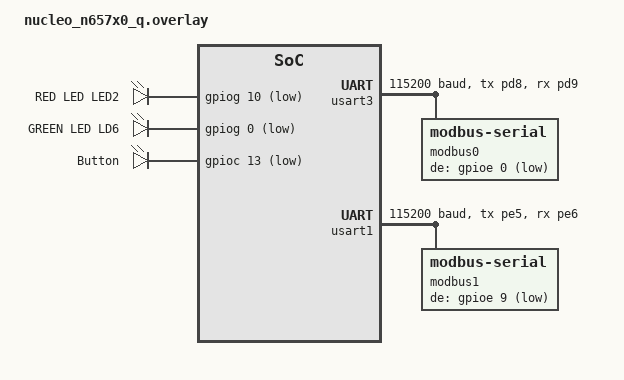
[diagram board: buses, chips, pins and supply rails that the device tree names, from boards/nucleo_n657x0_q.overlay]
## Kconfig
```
# Copyright (c) 2025
# SPDX-License-Identifier: Apache-2.0
# Coskun ERGAN <coskunergan@gmail.com>

mainmenu "ISO-TP Canbus Demo"

config SAMPLE_LOOPBACK_MODE
	bool "Use CAN loopback mode"
	help
	  Set the CAN controller to loopback mode. This allows testing without a second board.

config SAMPLE_RX_THREAD_STACK_SIZE
	int "RX threads stack size"
	default 1024
	help
	  Stack size (in bytes) used for the RX threads.

config SAMPLE_RX_THREAD_PRIORITY
	int "RX threads priority"
	default 2
	help
	  Priority used for the RX threads.

config SAMPLE_CAN_FD_MODE
	bool "Use CAN FD"
	select CAN_FD_MODE

config ISOTP_RX_BUF_COUNT
	default 4 if SAMPLE_CAN_FD_MODE
	default 2

source "Kconfig.zephyr"
```

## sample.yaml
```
# See doc/develop/test/twister.rst for what is here.
sample:
  name: Driver Sample
common:
  filter: CONFIG_RUST_SUPPORTED
  platform_allow:
    - qemu_cortex_m0
    - qemu_cortex_m3
    - qemu_riscv32
    - qemu_riscv64    
    - stm32f4_disco
    - nucleo_n657x0_q
tests:
  sample.basic.drivers:
    tags:
    filter: 
    depends_on:
    extra_configs:
      - CONFIG_SAMPLE_LOOPBACK_MODE=y
      - CONFIG_SAMPLE_CAN_FD_MODE=y    
    harness:
    integration_platforms:
      - stm32f4_disco
      - nucleo_n657x0_q
```

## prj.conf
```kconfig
CONFIG_GPIO=y

CONFIG_RUST=y
CONFIG_RUST_ALLOC=y

CONFIG_DEBUG=y
CONFIG_MAIN_STACK_SIZE=4096
CONFIG_HEAP_MEM_POOL_SIZE=2048

CONFIG_SYS_CLOCK_TICKS_PER_SEC=10000

CONFIG_GPIO_ENABLE_DISABLE_INTERRUPT=y

#Verify that userspace builds work.
#CONFIG_USERSPACE=y

CONFIG_UART_INTERRUPT_DRIVEN=y
CONFIG_UART_LINE_CTRL=n

#CONFIG_CONSOLE=n

CONFIG_MODBUS=y
CONFIG_MODBUS_ROLE_CLIENT_SERVER=y

CONFIG_LOG=y
#CONFIG_LOG_DEFAULT_LEVEL=4

CONFIG_CAN=y
CONFIG_CAN_MAX_FILTER=8
CONFIG_ISOTP=y
CONFIG_ISOTP_RX_SF_FF_BUF_COUNT=1

#CONFIG_SAMPLE_LOOPBACK_MODE=y
CONFIG_SAMPLE_CAN_FD_MODE=y
```

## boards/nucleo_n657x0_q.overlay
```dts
/ {
	gpios {		
		compatible = "gpio-leds";	
		my_red_led: my_red_led {			
			gpios = <&gpiog 10 GPIO_ACTIVE_LOW>;	
			label = "RED LED LED2";
		};
		my_green_led: my_green_led {			
			gpios = <&gpiog 0 GPIO_ACTIVE_LOW>;	
			label = "GREEN LED LD6";
		};		
		button: button {
			gpios = <&gpioc 13 (GPIO_PULL_DOWN | GPIO_ACTIVE_LOW)>;
			label = "Button";
		};											
	};				
};

&usart3 {
	clocks = <&rcc STM32_CLOCK(APB1, 18)>,
		 <&rcc STM32_SRC_CKPER USART3_SEL(1)>;
	pinctrl-0 = <&usart3_tx_pd8 &usart3_rx_pd9>;
	pinctrl-names = "default";
	current-speed = <115200>;
	status = "okay";
	modbus0 {
		compatible = "zephyr,modbus-serial";
		status = "okay";
		de-gpios = <&gpioe 0 GPIO_ACTIVE_LOW>;	
	};		
};

&usart1 {
	clocks = <&rcc STM32_CLOCK(APB2, 4)>,
		 <&rcc STM32_SRC_CKPER USART1_SEL(1)>;
	pinctrl-0 = <&usart1_tx_pe5 &usart1_rx_pe6>;
	pinctrl-names = "default";
	current-speed = <115200>;
	status = "okay";
	modbus1 {
		compatible = "zephyr,modbus-serial";
		status = "okay";
		de-gpios = <&gpioe 9 GPIO_ACTIVE_LOW>;	
	};		
};

&fdcan1 {
    label = "canbus0"; 
};
```

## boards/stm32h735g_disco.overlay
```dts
/ {
	gpios {		
		compatible = "gpio-leds";	
		my_red_led: my_red_led {			
			gpios = <&gpioc 2 GPIO_ACTIVE_LOW>;	
			label = "RED LED LED2";
		};
		my_green_led: my_green_led {			
			gpios = <&gpioc 3 GPIO_ACTIVE_LOW>;	
			label = "GREEN LED LED1";
		};		
		button: button {
			gpios = <&gpioc 13 (GPIO_PULL_DOWN | GPIO_ACTIVE_LOW)>;
			label = "Button";
		};											
	};				
};

&usart1 {
	pinctrl-0 = <&usart1_tx_pb14 &usart1_rx_pb15>;
	pinctrl-names = "default";
	current-speed = <115200>;
	status = "okay";
	modbus0 {
		compatible = "zephyr,modbus-serial";
		status = "okay";
		de-gpios = <&gpioe 9 GPIO_ACTIVE_LOW>;	
	};		
};

&usart3 {
	pinctrl-0 = <&usart3_tx_pd8 &usart3_rx_pd9>;
	pinctrl-names = "default";
	current-speed = <115200>;
	status = "okay";
	modbus1 {
		compatible = "zephyr,modbus-serial";
		status = "okay";
		de-gpios = <&gpioe 0 GPIO_ACTIVE_LOW>;	
	};		
};

&fdcan1 {
    label = "canbus0"; 
};
```

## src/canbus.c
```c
// Copyright (c) 2025
// SPDX-License-Identifier: Apache-2.0
// Coskun ERGAN <coskunergan@gmail.com>

#include <zephyr/kernel.h>
#include <zephyr/canbus/isotp.h>
#include <zephyr/sys/util.h>
#include <zephyr/logging/log.h>

LOG_MODULE_REGISTER(canbus, LOG_LEVEL_DBG);

const struct isotp_fc_opts fc_opts_8_0 = {.bs = 8, .stmin = 0};

const struct isotp_msg_id rx_addr_8_0 =
{
    .std_id = 0x80,
#ifdef CONFIG_SAMPLE_CAN_FD_MODE
    .flags = ISOTP_MSG_FDF | ISOTP_MSG_BRS,
#endif
};
const struct isotp_msg_id tx_addr_8_0 =
{
    .std_id = 0x180,
#ifdef CONFIG_SAMPLE_CAN_FD_MODE
    .dl = 64,
    .flags = ISOTP_MSG_FDF | ISOTP_MSG_BRS,
#endif
};

const struct device *can_dev;
struct isotp_recv_ctx recv_ctx_8_0;
struct isotp_send_ctx send_ctx_8_0;

K_THREAD_STACK_DEFINE(rx_8_0_thread_stack, CONFIG_SAMPLE_RX_THREAD_STACK_SIZE);
struct k_thread rx_8_0_thread_data;

extern void canbus_data_handler(const uint8_t *data, uint32_t len);

void rx_8_0_thread(void *arg1, void *arg2, void *arg3)
{
    ARG_UNUSED(arg1);
    ARG_UNUSED(arg2);
    ARG_UNUSED(arg3);
    int ret, rem_len;
    struct net_buf *buf;

    ret = isotp_bind(&recv_ctx_8_0, can_dev,
                     &tx_addr_8_0, &rx_addr_8_0,
                     &fc_opts_8_0, K_FOREVER);
    if(ret != ISOTP_N_OK)
    {
        LOG_ERR("Failed to bind to rx ID %d [%d]\n",
                rx_addr_8_0.std_id, ret);
        return;
    }

    while(1)
    {
        do
        {
            rem_len = isotp_recv_net(&recv_ctx_8_0, &buf,
                                     K_MSEC(2000));
            if(rem_len < 0)
            {
                break;
            }
            while(buf != NULL)
            {
                canbus_data_handler(buf->data, buf->len);
                buf = net_buf_frag_del(NULL, buf);
            }
        }
        while(rem_len);
    }
}

void send_complette_cb(int error_nr, void *arg)
{
    ARG_UNUSED(arg);
    if(error_nr < 0)
    {
        LOG_ERR("TX complete cb [%d]\n", error_nr);
    }
}

int canbus_init(const char *dev_name)
{
    k_tid_t tid;

    int ret = 0;

    can_dev = device_get_binding(dev_name);

    if(!device_is_ready(can_dev))
    {
        LOG_ERR("CAN: Device driver not ready.\n");
        return -1;
    }

    struct can_timing timing;

    ret = can_calc_timing(can_dev, &timing, 500000, 875);
    if(ret < 0)
    {
        LOG_ERR("Failed to calc timing: %d\n", ret);
        return ret;
    }

    ret = can_set_timing(can_dev, &timing);
    if(ret < 0)
    {
        LOG_ERR("Failed to set timing: %d\n", ret);
        return ret;
    }

    can_mode_t mode = (IS_ENABLED(CONFIG_SAMPLE_LOOPBACK_MODE) ? CAN_MODE_LOOPBACK : 0) |
                      (IS_ENABLED(CONFIG_SAMPLE_CAN_FD_MODE) ? CAN_MODE_FD : 0);
    ret = can_set_mode(can_dev, mode);
    if(ret != 0)
    {
        LOG_ERR("CAN: Failed to set mode [%d]", ret);
        return ret;
    }

    ret = can_start(can_dev);
    if(ret != 0)
    {
        LOG_ERR("CAN: Failed to start device [%d]\n", ret);
        return ret;
    }

    tid = k_thread_create(&rx_8_0_thread_data, rx_8_0_thread_stack,
                          K_THREAD_STACK_SIZEOF(rx_8_0_thread_stack),
                          rx_8_0_thread, NULL, NULL, NULL,
                          CONFIG_SAMPLE_RX_THREAD_PRIORITY, 0, K_NO_WAIT);
    if(!tid)
    {
        LOG_ERR("ERROR spawning rx thread\n");
        return 0;
    }
    k_thread_name_set(tid, "rx_8_0");

    return ret;
}

int canbus_isotp_send(const uint8_t *data, const uint16_t len)
{
    int ret = isotp_send(&send_ctx_8_0, can_dev,
                         data, len,
                         &tx_addr_8_0, &rx_addr_8_0, send_complette_cb, NULL);
    if(ret != ISOTP_N_OK)
    {
        LOG_WRN("Error while sending data to ID %d [%d]\n",
                tx_addr_8_0.std_id, ret);
    }
    return ret;
}
```

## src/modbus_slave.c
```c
// Copyright (c) 2025
// SPDX-License-Identifier: Apache-2.0
// Coskun ERGAN <coskunergan@gmail.com>

#include <zephyr/kernel.h>
#include <zephyr/devicetree.h>
#include <zephyr/modbus/modbus.h>
#include <zephyr/sys/util.h>
#include <zephyr/logging/log.h>

LOG_MODULE_REGISTER(modbus_slave, LOG_LEVEL_DBG);

const uint16_t drv_slave_id = 1;

#define NUMBER_OF_MB_ITEM 64

struct
{
    uint16_t *regs[NUMBER_OF_MB_ITEM];
} modbus_regs_ptr;

static int holding_reg_rd(uint16_t addr, uint16_t *reg)
{
    if(addr >= NUMBER_OF_MB_ITEM)
    {
        return -ENOTSUP;
    }
    else
    {
        if(modbus_regs_ptr.regs[addr] != NULL)
        {
            *reg = *modbus_regs_ptr.regs[addr];
        }
        else
        {
            *reg = 0;
            return -ENOTSUP;
        }
    }
    return 0;
}

static int holding_reg_wr(uint16_t addr, uint16_t reg)
{
    if(addr >= NUMBER_OF_MB_ITEM)
    {
        return -ENOTSUP;
    }
    else
    {
        if(modbus_regs_ptr.regs[addr] != NULL)
        {
            *modbus_regs_ptr.regs[addr] = reg;
        }
        else
        {
            return -ENOTSUP;
        }
    }
    return 0;
}

static struct modbus_user_callbacks mbs_cbs =
{
    .coil_rd = NULL,
    .coil_wr = NULL,
    .input_reg_rd = NULL,
    .holding_reg_rd = holding_reg_rd,
    .holding_reg_wr = holding_reg_wr,
};

const static struct modbus_iface_param client_param =
{
    .mode = MODBUS_MODE_RTU,
    .server = {
        .user_cb = &mbs_cbs,
        .unit_id = drv_slave_id,
    },
    .serial = {
        .baud = 115200,
        .parity = UART_CFG_PARITY_NONE,
        .stop_bits = UART_CFG_STOP_BITS_1,
    },
};

int mb_slave_init(const char *dev)
{
    const int client_iface = modbus_iface_get_by_name(dev);
    if(modbus_init_server(client_iface, client_param))
    {
        LOG_ERR("Modbus Server initialization failed! client_iface: %d", client_iface);
        return -1;
    }
    LOG_INF("Modbus Server initialization ok. client_iface: %d", client_iface);
    return 0;
}

int mb_add_holding_reg(uint16_t * reg, const uint16_t addr)
{
    if(addr >= NUMBER_OF_MB_ITEM)
    {
        return -1;
    }
    modbus_regs_ptr.regs[addr] = reg;
    return 0;
}
```
